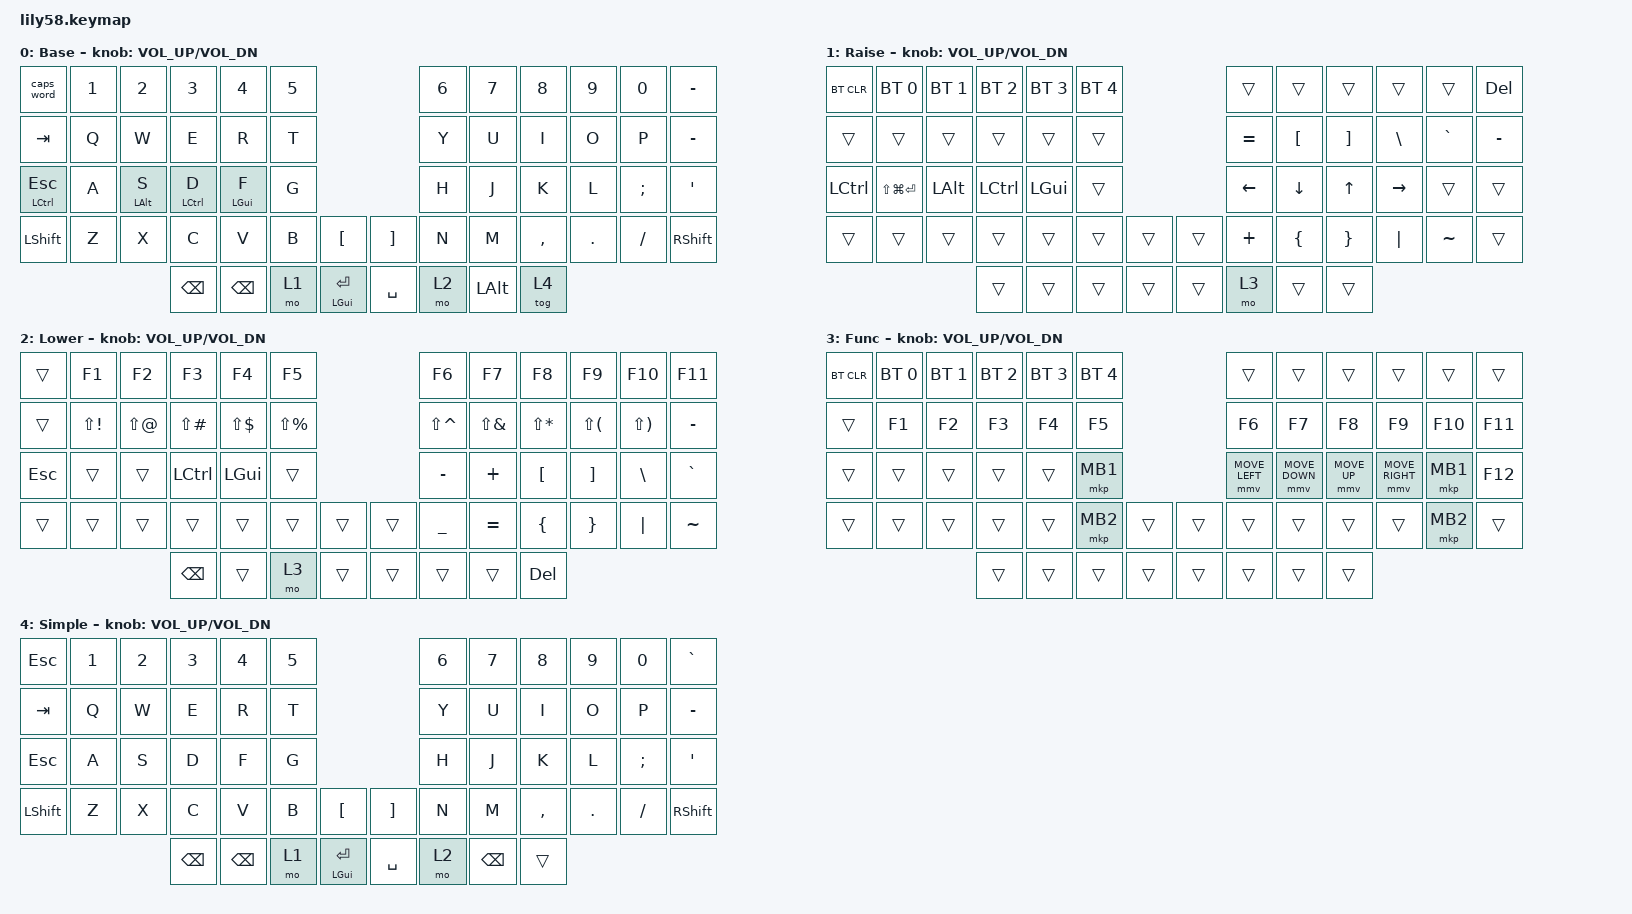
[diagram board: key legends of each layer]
/*
 * Copyright (c) 2020 The ZMK Contributors
 *
 * SPDX-License-Identifier: MIT
 */

#include <behaviors.dtsi>
#include <dt-bindings/zmk/bt.h>
#include <dt-bindings/zmk/keys.h>
#include <dt-bindings/zmk/pointing.h>

&mt {
    flavor = "tap-preferred";
    tapping-term-ms = <250>;
};

/ {
    keymap {
        compatible = "zmk,keymap";

        default_layer {
            // ------------------------------------------------------------------------------------------------------------
            // |  ESC  |  1  |  2  |  3   |  4   |  5   |                   |  6   |  7    |  8    |  9   |   0   |   `   |
            // |  TAB  |  Q  |  W  |  E   |  R   |  T   |                   |  Y   |  U    |  I    |  O   |   P   |   -   |
            // |  CTRL |  A  |  S  |  D   |  F   |  G   |                   |  H   |  J    |  K    |  L   |   ;   |   '   |
            // | SHIFT |  Z  |  X  |  C   |  V   |  B   |   "["  |  |  "]"  |  N   |  M    |  ,    |  .   |   /   | SHIFT |
            //                     | ALT  | GUI  | LOWER|  SPACE |  | ENTER | RAISE| BSPC  | GUI   |

            display-name = "Base";
            bindings = <
&caps_word     &kp N1  &kp N2      &kp N3       &kp N4      &kp N5                             &kp N6  &kp N7        &kp N8     &kp N9   &kp N0    &kp MINUS
&kp TAB        &kp Q   &kp W       &kp E        &kp R       &kp T                              &kp Y   &kp U         &kp I      &kp O    &kp P     &kp MINUS
&mt LCTRL ESC  &kp A   &mt LALT S  &mt LCTRL D  &mt LGUI F  &kp G                              &kp H   &kp J         &kp K      &kp L    &kp SEMI  &kp SQT
&kp LSHFT      &kp Z   &kp X       &kp C        &kp V       &kp B   &kp LBKT        &kp RBKT   &kp N   &kp M         &kp COMMA  &kp DOT  &kp FSLH  &kp RSHFT
                                   &kp BSPC     &kp BSPC    &mo 1   &mt LGUI RET    &kp SPACE  &mo 2   &kp LEFT_ALT  &tog 4
            >;

            sensor-bindings = <&inc_dec_kp C_VOL_UP C_VOL_DN>;
        };

        raise_layer {
            // ------------------------------------------------------------------------------------------------------------
            // | BTCLR | BT1 | BT2 |  BT3 |  BT4 |  BT5 |                   |      |       |       |      |       |       |
            // |  F1   |  F2 |  F3 |  F4  |  F5  |  F6  |                   |  F7  |  F8   |  F9   |  F10 |  F11  |  F12  |
            // |   `   |  !  |  @  |  #   |  $   |  %   |                   |  ^   |  &    |  *    |  (   |   )   |   ~   |
            // |       |     |     |      |      |      |        |  |       |      |  _    |  +    |  {   |   }   |  "|"  |
            //                     |      |      |      |        |  |       |      |       |       |

            display-name = "Raise";
            bindings = <
&bt BT_CLR  &bt BT_SEL 0     &bt BT_SEL 1  &bt BT_SEL 2  &bt BT_SEL 3  &bt BT_SEL 4                    &trans     &trans          &trans           &trans     &trans     &kp DELETE
&trans      &trans           &trans        &trans        &trans        &trans                          &kp EQUAL  &kp LBKT        &kp RBKT         &kp BSLH   &kp GRAVE  &kp MINUS
&kp LCTRL   &kp LS(LG(RET))  &kp LALT      &kp LCTRL     &kp LGUI      &trans                          &kp LEFT   &kp DOWN        &kp UP           &kp RIGHT  &trans     &trans
&trans      &trans           &trans        &trans        &trans        &trans        &trans    &trans  &kp PLUS   &kp LEFT_BRACE  &kp RIGHT_BRACE  &kp PIPE   &kp TILDE  &trans
                                           &trans        &trans        &trans        &trans    &trans  &mo 3      &trans          &trans
            >;

            sensor-bindings = <&inc_dec_kp C_VOL_UP C_VOL_DN>;
        };

        lower_layer {
            // ------------------------------------------------------------------------------------------------------------
            // |       |     |     |      |      |      |                   |      |       |       |      |       |       |
            // |   `   |  1  |  2  |  3   |  4   |  5   |                   |  6   |   7   |   8   |  9   |   0   |       |
            // |   F1  |  F2 |  F3 |  F4  |  F5  |  F6  |                   |      |   <-  |   v   |  ^   |  ->   |       |
            // |   F7  |  F8 |  F9 |  F10 |  F11 |  F12 |        |  |       |  +   |   -   |   =   |  [   |   ]   |   \   |
            //                     |      |      |      |        |  |       |      |       |       |

            display-name = "Lower";
            bindings = <
&trans      &kp F1        &kp F2      &kp F3            &kp F4        &kp F5                           &kp F6         &kp F7        &kp F8            &kp F9             &kp F10        &kp F11
&trans      &kp LS(EXCL)  &kp LS(AT)  &kp LS(POUND)     &kp LS(DLLR)  &kp LS(PRCNT)                    &kp LS(CARET)  &kp LS(AMPS)  &kp LS(STAR)      &kp LS(LPAR)       &kp LS(RPAR)   &kp MINUS
&kp ESCAPE  &trans        &trans      &kp LEFT_CONTROL  &kp LEFT_GUI  &trans                           &kp MINUS      &kp PLUS      &kp LEFT_BRACKET  &kp RIGHT_BRACKET  &kp BACKSLASH  &kp GRAVE
&trans      &trans        &trans      &trans            &trans        &trans         &trans    &trans  &kp UNDER      &kp EQUAL     &kp LEFT_BRACE    &kp RIGHT_BRACE    &kp PIPE       &kp TILDE
                                      &kp BACKSPACE     &trans        &mo 3          &trans    &trans  &trans         &trans        &kp DELETE
            >;

            sensor-bindings = <&inc_dec_kp C_VOL_UP C_VOL_DN>;
        };

        func_layer {
            // ------------------------------------------------------------------------------------------------------------
            // |       |     |     |      |      |      |                   |      |       |       |      |       |       |
            // |   `   |  1  |  2  |  3   |  4   |  5   |                   |  6   |   7   |   8   |  9   |   0   |       |
            // |   F1  |  F2 |  F3 |  F4  |  F5  |  F6  |                   |      |   <-  |   v   |  ^   |  ->   |       |
            // |   F7  |  F8 |  F9 |  F10 |  F11 |  F12 |        |  |       |  +   |   -   |   =   |  [   |   ]   |   \   |
            //                     |      |      |      |        |  |       |      |       |       |

            display-name = "Func";
            bindings = <
&bt BT_CLR  &bt BT_SEL 0  &bt BT_SEL 1  &bt BT_SEL 2  &bt BT_SEL 3  &bt BT_SEL 4                    &trans          &trans          &trans        &trans           &trans    &trans
&trans      &kp F1        &kp F2        &kp F3        &kp F4        &kp F5                          &kp F6          &kp F7          &kp F8        &kp F9           &kp F10   &kp F11
&trans      &trans        &trans        &trans        &trans        &mkp MB1                        &mmv MOVE_LEFT  &mmv MOVE_DOWN  &mmv MOVE_UP  &mmv MOVE_RIGHT  &mkp MB1  &kp F12
&trans      &trans        &trans        &trans        &trans        &mkp MB2      &trans    &trans  &trans          &trans          &trans        &trans           &mkp MB2  &trans
                                        &trans        &trans        &trans        &trans    &trans  &trans          &trans          &trans
            >;

            sensor-bindings = <&inc_dec_kp C_VOL_UP C_VOL_DN>;
        };

        game_layer {
            display-name = "Simple";
            bindings = <
&kp ESC     &kp N1  &kp N2  &kp N3    &kp N4    &kp N5                             &kp N6  &kp N7    &kp N8     &kp N9   &kp N0    &kp GRAVE
&kp TAB     &kp Q   &kp W   &kp E     &kp R     &kp T                              &kp Y   &kp U     &kp I      &kp O    &kp P     &kp MINUS
&kp ESCAPE  &kp A   &kp S   &kp D     &kp F     &kp G                              &kp H   &kp J     &kp K      &kp L    &kp SEMI  &kp SQT
&kp LSHFT   &kp Z   &kp X   &kp C     &kp V     &kp B   &kp LBKT        &kp RBKT   &kp N   &kp M     &kp COMMA  &kp DOT  &kp FSLH  &kp RSHFT
                            &kp BSPC  &kp BSPC  &mo 1   &mt LGUI RET    &kp SPACE  &mo 2   &kp BSPC  &trans
            >;

            sensor-bindings = <&inc_dec_kp C_VOL_UP C_VOL_DN>;
        };

        extra_2 { status = "reserved"; };
    };
};
